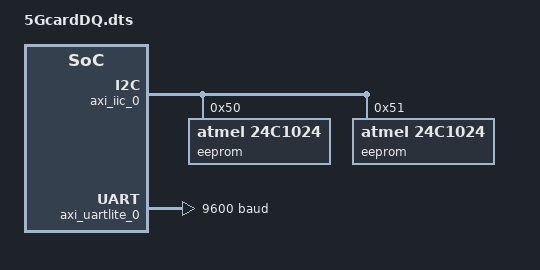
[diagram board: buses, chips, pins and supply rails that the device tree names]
// SPDX-License-Identifier: GPL-2.0+
/*
 * dts file for Xilinx ZynqMP ZCU102 Rev1.0
 *
 * (C) Copyright 2016 - 2020, Xilinx, Inc.
 *
 * Michal Simek <michal.simek@xilinx.com>
 */

#include "5Gcard-ps.dts"

/ {
	amba_pl: amba_pl@0 {
		#address-cells = <2>;
		#size-cells = <2>;
		compatible = "simple-bus";
		ranges ;
		axi_iic_0: i2c@a0030000 {
			#address-cells = <1>;
			#size-cells = <0>;
			clock-names = "s_axi_aclk";
			clocks = <&zynqmp_clk 71>;
			compatible = "xlnx,axi-iic-2.0", "xlnx,xps-iic-2.00.a";
			interrupt-names = "iic2intc_irpt";
			interrupt-parent = <&gic>;
			interrupts = <0 91 4>;
			reg = <0x0 0xa0030000 0x0 0x10000>;
			
			eeprom@50a {
				#address-cells = <1>;
				#size-cells = <0>;
				compatible = "atmel,24c1024";
				reg = <0x50>;
				pagesize = <256>;
			};

			eeprom@51a {
				#address-cells = <1>;
				#size-cells = <0>;
				compatible = "atmel,24c1024";
				reg = <0x51>;
				pagesize = <256>;
			};

		};
		axi_uartlite_0: serial@a0010000 {
			clock-names = "s_axi_aclk";
			clocks = <&zynqmp_clk 71>;
			compatible = "xlnx,axi-uartlite-2.0", "xlnx,xps-uartlite-1.00.a";
			current-speed = <9600>;
			device_type = "serial";
			interrupt-names = "interrupt";
			interrupt-parent = <&gic>;
			interrupts = <0 89 1>;
			port-number = <0>;
			reg = <0x0 0xa0010000 0x0 0x10000>;
			xlnx,baudrate = <0x2580>;
			xlnx,data-bits = <0x8>;
			xlnx,odd-parity = <0x0>;
			xlnx,s-axi-aclk-freq-hz-d = "99.999001";
			xlnx,use-parity = <0x0>;
		};
		ddr4_0: ddr4@500000000 {
			compatible = "xlnx,ddr4-2.2";
			reg = <0x00000005 0x00000000 0x00000001 0x00000000>;
		};
	};
};
